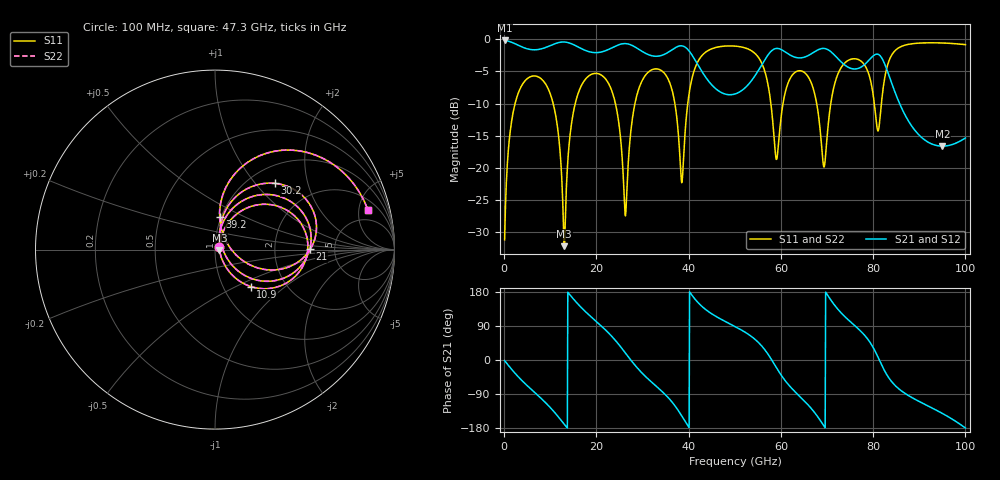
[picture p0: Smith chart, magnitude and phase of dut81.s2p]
! Touchstone file exported from HFSS 2026.1.0
!  File:  C:/ffzhzh/LocalFiles/Ansys_Project_Files/temp_train_TSV_RDL_81_1783451347_34316.aedt
!  Generated:  03:25:23 AM Jul  8, 2026
!  Design:  TSV_RDL
!  Project:  temp_train_TSV_RDL_81_1783451347_34316
! Variables:
!  h_bsmrdl = 2.98um
!  h_ox = 20um
!  h_rdl = 5um
!  h_sub = 98.67um
!  h_tmrdl = 4.66um
!  h_tsv = 98.67um
!  h_via = 3um
!  l_bsmrdl = 268.21um
!  l_sub = 3929um
!  l_tmrdl = 661.06um
!  m_sub = 200um
!  pitch = 45.9um
!  r_tsv = 12.49um
!  s_tmrdl = 10um
!  w_bsmrdl = 12.73um
!  w_sub = 500um
!  w_tmrdl = 13.98um
!  x_tsv_center1 = 668.05um
!  x_tsv_center2 = 948.99um
!  x_tsv_center3 = 1624.03um
!  x_tsv_center4 = 1904.97um
!  x_tsv_center5 = 2580.01um
!  x_tsv_center6 = 2860.95um
# GHz S MA R 50.000000
! Terminal data exported
! Port[1] = TM_RDL1_1_T1
! Port[2] = TM_RDL5_1_T1
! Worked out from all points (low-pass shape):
!   1000 points, 100 MHz to 100 GHz, reference 50 ohm
!   highest |S21| = -0.20 dB at 100 MHz (marker M1); lowest = -16.6 dB at 95 GHz (marker M2)
!   |S21| within 3 dB of the highest: start of sweep to 41.36 GHz; 56.51 GHz to 72.6 GHz (16.09 GHz wide, 24.9 % of centre) (the widest 2 of 3)
!   lowest |S11| = -32.2 dB at 13 GHz (marker M3), VSWR 1.05, Z = 52.5 - j0.196 ohm
!   |S11| at or under -10 dB: 10.63 GHz to 15.41 GHz (4.784 GHz wide, 36.7 % of centre); 24.13 GHz to 28.36 GHz (4.233 GHz wide, 16.1 % of centre); 67.76 GHz to 70.81 GHz (3.055 GHz wide, 4.41 % of centre) (the widest 3 of 7)
!   |S22| runs from -32.1 to -0.6 dB; largest |S21 - S12| = 7.1e-14
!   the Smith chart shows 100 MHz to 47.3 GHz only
!   S11 on the Smith chart (normalised r, x): 100 MHz: 1.05, +0.03; 10.9 GHz: 1.34, -0.60; 21 GHz: 3.24, +0.03; 30.2 GHz: 1.29, +1.27; 39.2 GHz: 0.99, +0.37; 47.3 GHz: 3.19, +6.24
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0.1  0.02767 33.3  0.9772 -1.6  0.9772 -1.6  0.02767 33.3
! Gamma 0 0 0 0
! Port Impedance 50 0 50 0
3.4  0.4079 37.5  0.8846 -48.6  0.8846 -48.6  0.4079 37.5
10.9  0.2871 -45.9  0.9188 -137.7  0.9188 -137.7  0.2871 -45.8
13  0.02467 -4.3  0.9506 -169.0  0.9506 -169.0  0.02491 -4.2
16.8  0.4398 44.0  0.8426 137.4  0.8426 137.4  0.4398 44.0
21  0.5278 0.3  0.7941 90.5  0.7941 90.5  0.5278 0.3
26.3  0.04239 19.5  0.9236 18.3  0.9236 18.3  0.042 19.4
30.2  0.497 48.0  0.7924 -38.2  0.7924 -38.2  0.4969 48.0
33.4  0.5852 16.0  0.738 -73.8  0.738 -73.8  0.5851 16.0
39.2  0.1822 81.8  0.8691 -161.1  0.8691 -161.1  0.1818 82.0
47.3  0.8798 14.5  0.3817 105.8  0.3817 105.8  0.8797 14.5
50.1  0.883 -1.3  0.3758 88.1  0.3758 88.1  0.883 -1.3
55.7  0.6671 -43.4  0.6192 39.0  0.6192 39.0  0.667 -43.4
58.6  0.1587 -53.0  0.8396 -11.6  0.8396 -11.6  0.1577 -53.3
61.5  0.4504 18.2  0.7719 -63.1  0.7719 -63.1  0.4503 18.4
66.7  0.4468 -32.8  0.7736 -129.5  0.7736 -129.5  0.4473 -32.5
69.4  0.1021 8.7  0.847 -175.4  0.847 -175.4  0.105 8.4
74.2  0.6696 16.8  0.6168 110.5  0.6168 110.5  0.6696 16.6
80.9  0.2003 -9.0  0.7654 11.6  0.7654 11.6  0.1959 -9.5
83.4  0.6734 27.1  0.5265 -47.1  0.5265 -47.1  0.6725 27.4
95  0.934 -51.5  0.1476 -140.9  0.1476 -140.9  0.934 -51.4
100  0.9062 -87.8  0.1709 -179.5  0.1709 -179.5  0.9064 -87.7
